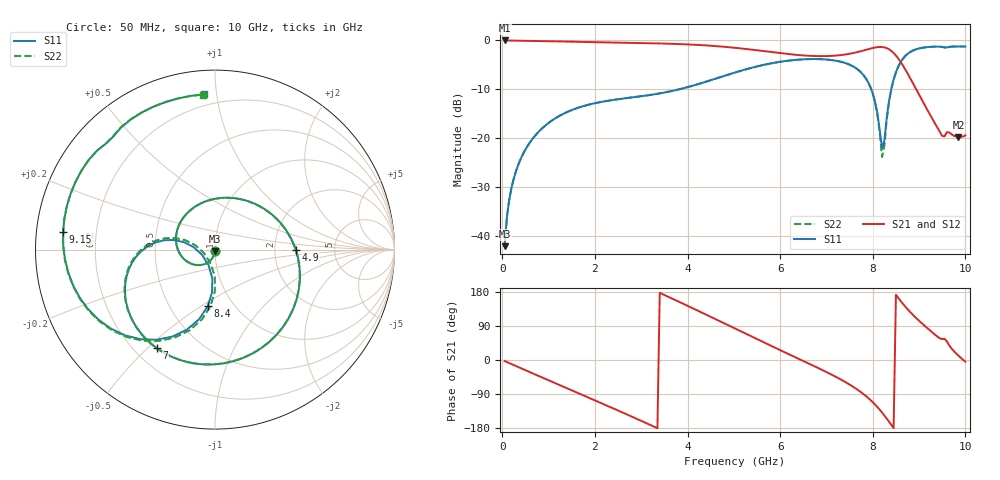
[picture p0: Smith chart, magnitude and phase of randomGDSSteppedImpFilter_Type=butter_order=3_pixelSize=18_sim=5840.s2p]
! freq	dB(S11)	phase(S11)	dB(S12)	phase(S12)
!  dB(S21)	phase(S21)	dB(S22)	phase(S22)
!S-par simulation data
#  GHz  S  DB  R 50
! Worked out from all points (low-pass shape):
!   200 points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, 50 MHz to 10 GHz, reference 50 ohm
!   highest |S21| = -0.01 dB at 50 MHz (marker M1); lowest = -19.8 dB at 9.85 GHz (marker M2)
!   |S21| within 3 dB of the highest: start of sweep to 6.411 GHz; 7.307 GHz to 8.492 GHz (1.185 GHz wide, 15 % of centre)
!   lowest |S11| = -42.1 dB at 50 MHz (marker M3), VSWR 1.02, Z = 50 - j0.781 ohm
!   |S11| at or under -10 dB: start of sweep to 3.826 GHz; 7.967 GHz to 8.399 GHz (431.6 MHz wide, 5.27 % of centre)
!   |S22| runs from -42.1 to -1.2 dB; largest |S21 - S12| = 0
!   S11 on the Smith chart (normalised r, x): 50 MHz: 1.00, -0.02; 4.9 GHz: 2.64, -0.00; 7 GHz: 0.29, -0.53; 8.4 GHz: 0.76, -0.53; 9.15 GHz: 0.08, +0.06; 10 GHz: 0.13, +0.92
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0.05  -42.14 -92.2  -0.01 -2.8  -0.01 -2.8  -42.14 -92.2
0.2  -30.13 -100.7  -0.02 -10.8  -0.02 -10.8  -30.13 -100.7
0.5  -22.33 -117.1  -0.06 -26.9  -0.06 -26.9  -22.33 -117.1
1.75  -13.45 175.9  -0.31 -93.3  -0.31 -93.3  -13.45 175.7
2.65  -11.85 127.7  -0.47 -141.4  -0.47 -141.4  -11.85 127.4
3.4  -10.85 86.4  -0.62 177.2  -0.62 177.2  -10.85 86.0
4.25  -8.89 37.9  -0.93 128.5  -0.93 128.5  -8.89 37.5
4.9  -6.94 -0.1  -1.39 90.3  -1.39 90.3  -6.94 -0.5
5.05  -6.50 -8.9  -1.53 81.4  -1.53 81.4  -6.50 -9.3
5.85  -4.62 -55.2  -2.43 34.6  -2.43 34.6  -4.62 -55.6
6.7  -3.81 -103.2  -3.18 -14.0  -3.18 -14.0  -3.81 -103.7
7  -3.91 -120.6  -3.21 -31.8  -3.21 -31.8  -3.91 -121.1
7.5  -4.97 -152.3  -2.73 -64.8  -2.73 -64.8  -4.98 -153.1
7.9  -8.55 177.0  -1.80 -100.0  -1.80 -100.0  -8.59 175.3
8.1  -14.96 166.5  -1.38 -124.1  -1.38 -124.1  -15.20 162.4
8.2  -22.18 -158.2  -1.35 -138.5  -1.35 -138.5  -23.88 -161.9
8.35  -12.48 -93.9  -1.81 -162.6  -1.81 -162.6  -12.64 -90.2
8.4  -9.93 -97.3  -2.14 -171.1  -2.14 -171.1  -10.02 -94.5
8.7  -3.19 -136.4  -5.90 141.1  -5.90 141.1  -3.20 -135.2
9.15  -1.39 173.3  -13.74 87.0  -13.74 87.0  -1.39 173.9
9.85  -1.24 108.3  -19.80 11.5  -19.80 11.5  -1.24 108.7
10  -1.24 94.0  -19.46 -4.6  -19.46 -4.6  -1.24 94.5
